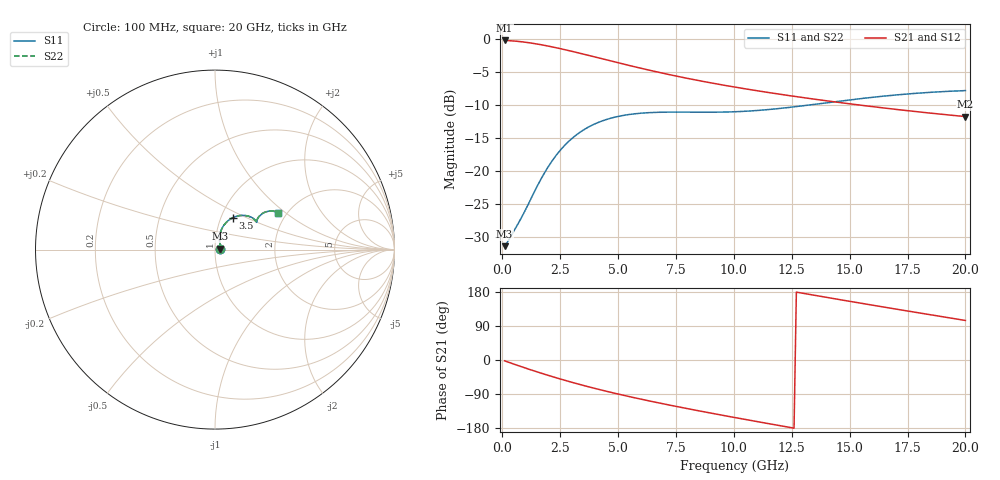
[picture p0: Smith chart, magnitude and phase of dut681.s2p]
! Touchstone file exported from HFSS 2024.1.0
!  File:  C:/UserFiles/LocalFiles/RDL_TSV_Batchsim/temp_RDL_TSV_681_1779816724.aedt
!  Generated:  01:52:40 AM May 27, 2026
!  Design:  RDL_TSV
!  Project:  temp_RDL_TSV_681_1779816724
!  Setup:  Setup1
!  Solution:  Sweep
! Variables:
!  dtsv = 8.27um
!  hbump = 3um
!  htsv = 98.58um
!  ldown = 516.02um
!  lrdl = 477.58um
!  p = 40
!  p1 = 51.42um
!  rhole = 10um
!  subl = 3458.38um
!  t = 450um
!  tdown = 2.28um
!  trdl = 2.79um
!  viad = 10um
!  wdown = 25um
!  wrdl = 14.89um
!  xbump = 18um
# GHz S MA R 50.000000
! Terminal data exported
! Port[1] = TM1_1_T1
! Port[2] = TM1_4_T1
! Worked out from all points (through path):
!   200 points, 100 MHz to 20 GHz, reference 50 ohm
!   highest |S21| = -0.24 dB at 100 MHz (marker M1); lowest = -11.8 dB at 20 GHz (marker M2)
!   group delay of S21, straight-line fit = 33.6 ps
!   lowest |S11| = -31.4 dB at 100 MHz (marker M3), VSWR 1.06, Z = 52.7 + j0.497 ohm
!   |S11| at or under -10 dB: start of sweep to 13.32 GHz
!   |S22| runs from -31.4 to -7.8 dB; largest |S21 - S12| = 9.2e-15
!   S11 on the Smith chart (normalised r, x): 100 MHz: 1.05, +0.01; 3.5 GHz: 1.14, +0.42; 20 GHz: 1.79, +0.88
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0.1  0.02677 10.1  0.9733 -2.2  0.9733 -2.2  0.02677 10.1
! Gamma 0 0 0 0
! Port Impedance 50 0 50 0
0.5  0.03492 37.9  0.9641 -10.9  0.9641 -10.9  0.03493 37.9
0.9  0.0466 55.8  0.9483 -19.2  0.9483 -19.2  0.0466 55.7
1.4  0.07006 69.0  0.9212 -29.3  0.9212 -29.3  0.07 68.9
1.8  0.09487 72.4  0.8951 -37.1  0.8951 -37.1  0.09473 72.3
2.2  0.1221 72.0  0.8665 -44.6  0.8665 -44.6  0.1219 71.9
2.6  0.1495 69.4  0.8364 -51.8  0.8364 -51.8  0.1491 69.3
3  0.1752 65.9  0.8056 -58.8  0.8056 -58.8  0.1748 65.8
3.5  0.2035 60.9  0.7671 -67.1  0.7671 -67.1  0.203 60.8
4.2  0.2346 54.0  0.7149 -78.1  0.7149 -78.1  0.2339 53.9
5.1  0.2603 46.3  0.6529 -91.3  0.6529 -91.3  0.2595 46.2
5.9  0.2723 41.0  0.6038 -102.2  0.6038 -102.2  0.2714 40.9
6.8  0.2777 36.7  0.5556 -113.8  0.5556 -113.8  0.2767 36.7
7.6  0.2784 34.4  0.5185 -123.6  0.5185 -123.6  0.2773 34.4
8.4  0.2778 33.3  0.486 -133.1  0.486 -133.1  0.2767 33.3
10.1  0.2804 33.9  0.4293 -152.5  0.4293 -152.5  0.2794 34.0
11.7  0.2934 35.8  0.3871 -170.1  0.3871 -170.1  0.2925 36.0
13.4  0.3176 37.2  0.3506 171.6  0.3506 171.6  0.317 37.3
15  0.3445 36.9  0.3218 154.9  0.3218 154.9  0.3443 37.0
16.7  0.3714 35.2  0.2961 137.4  0.2961 137.4  0.3714 35.4
18.3  0.3914 33.0  0.2757 121.3  0.2757 121.3  0.3916 33.1
20  0.4054 30.5  0.2576 104.4  0.2576 104.4  0.4059 30.6
